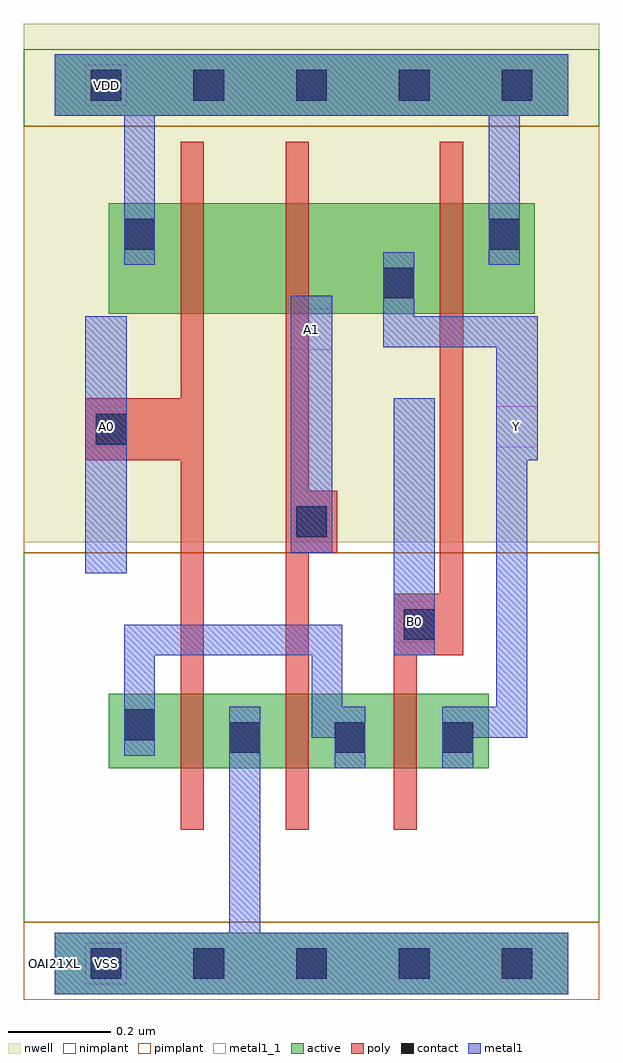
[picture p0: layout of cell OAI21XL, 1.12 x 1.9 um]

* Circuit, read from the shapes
.subckt OAI21XL A0 A1 B0 VDD VSS Y
M1 VSS A0 n1 VSS nfet w=0.145u l=0.045u
M2 n1 A1 VSS VSS nfet w=0.145u l=0.045u
M3 Y B0 n1 VSS nfet w=0.145u l=0.045u
M4 n2 A0 VDD VDD pfet w=0.215u l=0.045u
M5 Y A1 n2 VDD pfet w=0.215u l=0.045u
M6 VDD B0 Y VDD pfet w=0.215u l=0.045u
.ends

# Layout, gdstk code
import gdstk
lib = gdstk.Library(unit=1e-6, precision=5e-10)
def R(c, l, rs):  # rectangles x0, y0, x1, y1
    for r in rs: c.add(gdstk.rectangle(r[:2], r[2:], *l))
def A(c, l, x, y, w, h, nx, ny, dx, dy):  # array of equal rectangles
    R(c, l, [(x+i*dx, y+j*dy, x+i*dx+w, y+j*dy+h) for i in range(nx) for j in range(ny)])
def P(c, l, *ps):  # polygons
    for p in ps: c.add(gdstk.Polygon(p, *l))
active = (1, 0)
nwell = (2, 0)
poly = (3, 0)
nimplant = (4, 0)
pimplant = (5, 0)
contact = (6, 0)
metal1 = (7, 0)
metal1_1 = (7, 1)

oai21xl = lib.new_cell('OAI21XL')
R(oai21xl, active, [(0,-0.06,1,0.06), (0.105,0.38,0.845,0.525), (0.105,1.265,0.935,1.48), (0,1.65,1,1.77)])
R(oai21xl, nwell, [(-0.06,0.82,1.06,1.83)])
P(oai21xl, poly, [(0.245,1.6),(0.29,1.6),(0.29,0.26),(0.245,0.26),(0.245,0.98),(0.06,0.98),(0.06,1.1),(0.245,1.1)],
  [(0.45,1.6),(0.495,1.6),(0.495,0.92),(0.55,0.92),(0.55,0.8),(0.495,0.8),(0.495,0.26),(0.45,0.26)],
  [(0.75,1.6),(0.795,1.6),(0.795,0.6),(0.705,0.6),(0.705,0.26),(0.66,0.26),(0.66,0.72),(0.75,0.72)])
R(oai21xl, nimplant, [(-0.06,0.08,1.06,0.8), (-0.06,1.63,1.06,1.78)])
R(oai21xl, pimplant, [(-0.06,-0.07,1.06,0.08), (-0.06,0.8,1.06,1.63)])
A(oai21xl, contact, 0.07, -0.03, 0.06, 0.06, 5, 2, 0.2, 1.71)
R(oai21xl, contact, [(0.34,0.41,0.4,0.47), (0.545,0.41,0.605,0.47), (0.755,0.41,0.815,0.47), (0.135,0.435,0.195,0.495), (0.68,0.63,0.74,0.69), (0.47,0.83,0.53,0.89), (0.08,1.01,0.14,1.07), (0.64,1.295,0.7,1.355), (0.135,1.39,0.195,1.45), (0.845,1.39,0.905,1.45)])
R(oai21xl, metal1, [(0.66,0.6,0.74,1.1), (0.06,0.76,0.14,1.26), (0.46,0.8,0.54,1.3)])
P(oai21xl, metal1, [(0,1.77),(1,1.77),(1,1.65),(0.905,1.65),(0.905,1.36),(0.845,1.36),(0.845,1.65),(0.195,1.65),(0.195,1.36),(0.135,1.36),(0.135,1.65),(0,1.65)],
  [(0.64,1.385),(0.7,1.385),(0.7,1.26),(0.94,1.26),(0.94,0.98),(0.92,0.98),(0.92,0.44),(0.815,0.44),(0.815,0.38),(0.755,0.38),(0.755,0.5),(0.86,0.5),(0.86,1.2),(0.64,1.2)],
  [(0.135,0.66),(0.56,0.66),(0.56,0.5),(0.605,0.5),(0.605,0.38),(0.545,0.38),(0.545,0.44),(0.5,0.44),(0.5,0.6),(0.195,0.6),(0.195,0.405),(0.135,0.405)],
  [(0.34,0.5),(0.4,0.5),(0.4,0.06),(1,0.06),(1,-0.06),(0,-0.06),(0,0.06),(0.34,0.06)])
R(oai21xl, metal1_1, [(0.06,-0.04,0.14,0.04), (0.66,0.625,0.74,0.705), (0.06,1.005,0.14,1.085), (0.86,1.005,0.94,1.085), (0.46,1.195,0.54,1.275), (0.06,1.67,0.14,1.75)])
oai21xl.add(gdstk.Label('Y', (0.9,1.045), layer=7, texttype=1))
oai21xl.add(gdstk.Label('A0', (0.1,1.045), layer=7, texttype=1))
oai21xl.add(gdstk.Label('A1', (0.5,1.235), layer=7, texttype=1))
oai21xl.add(gdstk.Label('B0', (0.7,0.665), layer=7, texttype=1))
oai21xl.add(gdstk.Label('VDD', (0.1,1.71), layer=7, texttype=1))
oai21xl.add(gdstk.Label('VSS', (0.1,0), layer=7, texttype=1))
oai21xl.add(gdstk.Label('OAI21XL', (0,0), layer=63, texttype=0))

lib.write_gds('OAI21XL.gds')
